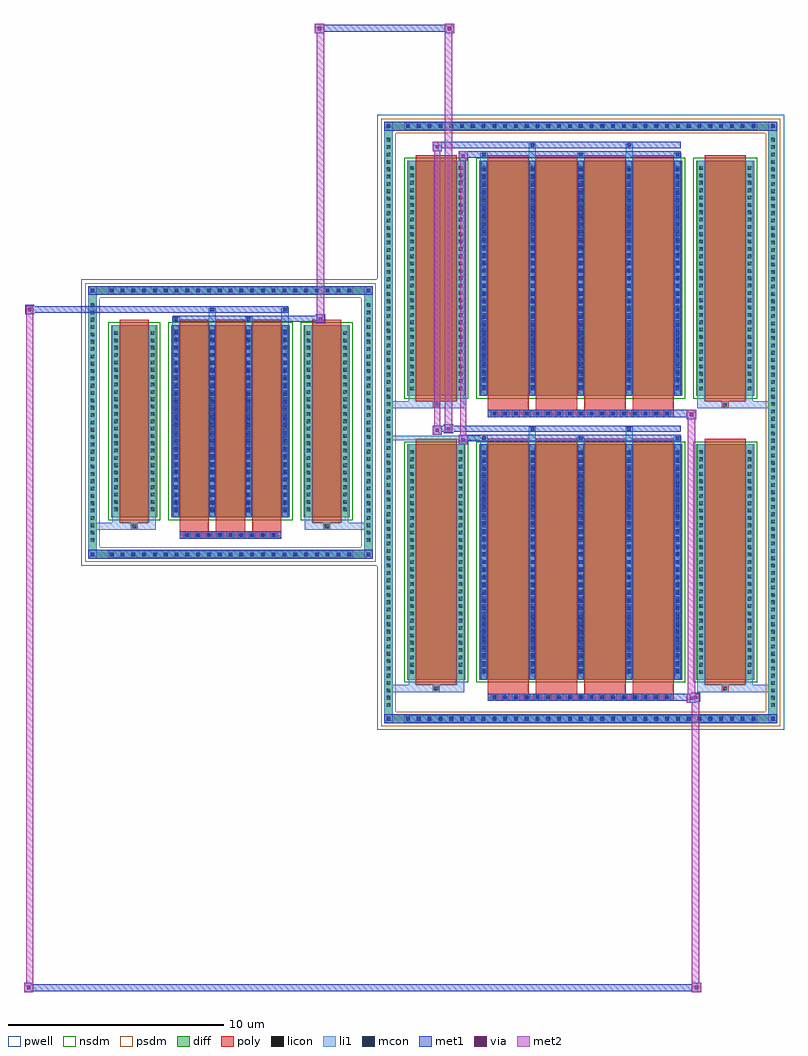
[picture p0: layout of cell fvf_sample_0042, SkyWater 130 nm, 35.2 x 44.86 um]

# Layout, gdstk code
import gdstk
lib = gdstk.Library(unit=1e-6, precision=1e-09)
def R(c, l, rs):  # rectangles x0, y0, x1, y1
    for r in rs: c.add(gdstk.rectangle(r[:2], r[2:], *l))
def A(c, l, x, y, w, h, nx, ny, dx, dy):  # array of equal rectangles
    R(c, l, [(x+i*dx, y+j*dy, x+i*dx+w, y+j*dy+h) for i in range(nx) for j in range(ny)])
def P(c, l, *ps):  # polygons
    for p in ps: c.add(gdstk.Polygon(p, *l))
pwell = (64, 44)
diff = (65, 20)
poly = (66, 20)
licon = (66, 44)
li1 = (67, 20)
mcon = (67, 44)
met1 = (68, 20)
via = (68, 44)
met2 = (69, 20)
nsdm = (93, 44)
psdm = (94, 20)

fvf_sample_0042 = lib.new_cell('fvf_sample_0042')
R(fvf_sample_0042, pwell, [(6.806,-14.24,25.636,14.24), (-6.906,-6.627,6.906,6.627)])
A(fvf_sample_0042, diff, 8.016, -13.93, 0.41, 0.41, 33, 2, 0.5, 27.45)
A(fvf_sample_0042, diff, 7.116, -13.295, 0.41, 0.41, 1, 78, 0, 0.34)
A(fvf_sample_0042, diff, 24.916, -13.295, 0.41, 0.41, 1, 78, 0, 0.34)
A(fvf_sample_0042, diff, -5.705, -6.317, 0.41, 0.41, 23, 2, 0.5, 12.224)
A(fvf_sample_0042, diff, -6.596, -5.645, 0.41, 0.41, 1, 33, 0, 0.34)
A(fvf_sample_0042, diff, 6.186, -5.645, 0.41, 0.41, 1, 33, 0, 0.34)
R(fvf_sample_0042, diff, [(8.016,-13.93,24.426,-13.52), (7.116,-13.295,7.526,13.295), (24.916,-13.295,25.326,13.295), (8.186,-11.909,10.876,-1.015), (11.516,-11.909,20.926,-1.015), (21.566,-11.909,24.256,-1.015), (-5.705,-6.317,5.705,-5.907), (-6.596,-5.645,-6.186,5.645), (6.186,-5.645,6.596,5.645), (-5.525,-4.395,-3.391,4.511), (-2.751,-4.395,2.751,4.511), (3.391,-4.395,5.525,4.511), (8.186,1.231,10.876,12.125), (11.516,1.231,20.926,12.125), (21.566,1.231,24.256,12.125), (-5.705,5.907,5.705,6.317), (8.016,13.52,24.426,13.93)])
P(fvf_sample_0042, diff, [(6.596,6.317),(-6.596,6.317),(-6.596,-5.907),(-6.186,-5.907),(-6.186,5.907),(6.186,5.907),(6.186,-5.907),(-6.186,-5.907),(-6.596,-5.907),(-6.596,-6.317),(6.596,-6.317)],
  [(25.326,13.93),(7.116,13.93),(7.116,-13.52),(7.526,-13.52),(7.526,13.52),(24.916,13.52),(24.916,-13.52),(7.526,-13.52),(7.116,-13.52),(7.116,-13.93),(25.326,-13.93)])
A(fvf_sample_0042, poly, 12.056, -12.89, 0.33, 0.33, 17, 2, 0.5, 13.14)
A(fvf_sample_0042, poly, 11.906, -12.56, 1.91, 0.401, 4, 2, 2.24, 13.14)
A(fvf_sample_0042, poly, 11.906, -12.159, 1.91, 11.394, 4, 2, 2.24, 13.14)
A(fvf_sample_0042, poly, -2.165, -5.376, 0.33, 0.33, 9, 1, 0.5, 0)
A(fvf_sample_0042, poly, -2.361, -5.046, 1.354, 0.401, 3, 1, 1.684, 0)
A(fvf_sample_0042, poly, -2.361, -4.645, 1.354, 9.406, 3, 1, 1.684, 0)
R(fvf_sample_0042, poly, [(11.906,-12.89,20.536,-12.56), (9.366,-12.489,9.696,-12.159), (9.366,-12.489,9.696,-12.159), (22.746,-12.489,23.076,-12.159), (22.746,-12.489,23.076,-12.159), (8.576,-12.159,10.486,-0.765), (21.956,-12.159,23.866,-0.765), (-2.361,-5.376,2.361,-5.046), (-4.623,-4.975,-4.293,-4.645), (-4.623,-4.975,-4.293,-4.645), (4.293,-4.975,4.623,-4.645), (4.293,-4.975,4.623,-4.645), (-5.135,-4.645,-3.781,4.761), (3.781,-4.645,5.135,4.761), (11.906,0.25,20.536,0.58), (9.366,0.651,9.696,0.981), (9.366,0.651,9.696,0.981), (22.746,0.651,23.076,0.981), (22.746,0.651,23.076,0.981), (8.576,0.981,10.486,12.375), (21.956,0.981,23.866,12.375)])
A(fvf_sample_0042, licon, 8.136, -13.81, 0.17, 0.17, 33, 2, 0.5, 27.45)
A(fvf_sample_0042, licon, 7.236, -13.175, 0.17, 0.17, 1, 78, 0, 0.34)
A(fvf_sample_0042, licon, 25.036, -13.175, 0.17, 0.17, 1, 78, 0, 0.34)
A(fvf_sample_0042, licon, 12.136, -12.81, 0.17, 0.17, 17, 2, 0.5, 13.14)
A(fvf_sample_0042, licon, 8.326, -11.647, 0.17, 0.17, 1, 31, 0, 0.34)
A(fvf_sample_0042, licon, 10.566, -11.647, 0.17, 0.17, 1, 31, 0, 0.34)
A(fvf_sample_0042, licon, 11.656, -11.647, 0.17, 0.17, 5, 31, 2.24, 0.34)
A(fvf_sample_0042, licon, 21.706, -11.647, 0.17, 0.17, 1, 31, 0, 0.34)
A(fvf_sample_0042, licon, 23.946, -11.647, 0.17, 0.17, 1, 31, 0, 0.34)
A(fvf_sample_0042, licon, -5.585, -6.197, 0.17, 0.17, 23, 2, 0.5, 12.224)
A(fvf_sample_0042, licon, -6.476, -5.525, 0.17, 0.17, 1, 33, 0, 0.34)
A(fvf_sample_0042, licon, 6.306, -5.525, 0.17, 0.17, 1, 33, 0, 0.34)
A(fvf_sample_0042, licon, -2.085, -5.296, 0.17, 0.17, 9, 1, 0.5, 0)
A(fvf_sample_0042, licon, -5.385, -4.107, 0.17, 0.17, 1, 25, 0, 0.34)
A(fvf_sample_0042, licon, -3.701, -4.107, 0.17, 0.17, 1, 25, 0, 0.34)
A(fvf_sample_0042, licon, -2.611, -4.107, 0.17, 0.17, 4, 25, 1.684, 0.34)
A(fvf_sample_0042, licon, 3.531, -4.107, 0.17, 0.17, 1, 25, 0, 0.34)
A(fvf_sample_0042, licon, 5.215, -4.107, 0.17, 0.17, 1, 25, 0, 0.34)
A(fvf_sample_0042, licon, 8.326, 1.493, 0.17, 0.17, 1, 31, 0, 0.34)
A(fvf_sample_0042, licon, 10.566, 1.493, 0.17, 0.17, 1, 31, 0, 0.34)
A(fvf_sample_0042, licon, 11.656, 1.493, 0.17, 0.17, 5, 31, 2.24, 0.34)
A(fvf_sample_0042, licon, 21.706, 1.493, 0.17, 0.17, 1, 31, 0, 0.34)
A(fvf_sample_0042, licon, 23.946, 1.493, 0.17, 0.17, 1, 31, 0, 0.34)
R(fvf_sample_0042, licon, [(9.446,-12.409,9.616,-12.239), (22.826,-12.409,22.996,-12.239), (-4.543,-4.895,-4.373,-4.725), (4.373,-4.895,4.543,-4.725), (9.446,0.731,9.616,0.901), (22.826,0.731,22.996,0.901)])
A(fvf_sample_0042, li1, 8.056, -13.89, 0.33, 0.33, 33, 2, 0.5, 27.45)
A(fvf_sample_0042, li1, 7.156, -13.255, 0.33, 0.33, 1, 78, 0, 0.34)
A(fvf_sample_0042, li1, 24.956, -13.255, 0.33, 0.33, 1, 78, 0, 0.34)
A(fvf_sample_0042, li1, 12.056, -12.89, 0.33, 0.33, 17, 2, 0.5, 13.14)
A(fvf_sample_0042, li1, 11.576, -11.909, 0.33, 10.894, 5, 2, 2.24, 13.14)
A(fvf_sample_0042, li1, 8.246, -11.727, 0.33, 0.33, 1, 31, 0, 0.34)
A(fvf_sample_0042, li1, 10.486, -11.727, 0.33, 0.33, 1, 31, 0, 0.34)
A(fvf_sample_0042, li1, 11.576, -11.727, 0.33, 0.33, 5, 31, 2.24, 0.34)
A(fvf_sample_0042, li1, 21.626, -11.727, 0.33, 0.33, 1, 31, 0, 0.34)
A(fvf_sample_0042, li1, 23.866, -11.727, 0.33, 0.33, 1, 31, 0, 0.34)
A(fvf_sample_0042, li1, 11.656, -11.587, 0.17, 0.17, 5, 29, 2.24, 0.36)
A(fvf_sample_0042, li1, 11.656, -11.587, 0.17, 10.25, 5, 2, 2.24, 13.14)
A(fvf_sample_0042, li1, -5.665, -6.277, 0.33, 0.33, 23, 2, 0.5, 12.224)
A(fvf_sample_0042, li1, -6.556, -5.605, 0.33, 0.33, 1, 33, 0, 0.34)
A(fvf_sample_0042, li1, 6.226, -5.605, 0.33, 0.33, 1, 33, 0, 0.34)
A(fvf_sample_0042, li1, -2.165, -5.376, 0.33, 0.33, 9, 1, 0.5, 0)
A(fvf_sample_0042, li1, -2.691, -4.395, 0.33, 8.906, 4, 1, 1.684, 0)
A(fvf_sample_0042, li1, -5.465, -4.187, 0.33, 0.33, 1, 25, 0, 0.34)
A(fvf_sample_0042, li1, -3.781, -4.187, 0.33, 0.33, 1, 25, 0, 0.34)
A(fvf_sample_0042, li1, -2.691, -4.187, 0.33, 0.33, 4, 25, 1.684, 0.34)
A(fvf_sample_0042, li1, 3.451, -4.187, 0.33, 0.33, 1, 25, 0, 0.34)
A(fvf_sample_0042, li1, 5.135, -4.187, 0.33, 0.33, 1, 25, 0, 0.34)
A(fvf_sample_0042, li1, -2.611, -4.167, 0.17, 0.17, 4, 24, 1.684, 0.36)
A(fvf_sample_0042, li1, -2.611, -4.167, 0.17, 8.45, 4, 1, 1.684, 0)
A(fvf_sample_0042, li1, 11.576, -1.015, 0.33, 0.375, 3, 2, 4.48, 13.14)
A(fvf_sample_0042, li1, 11.656, -0.81, 0.17, 0.17, 3, 2, 4.48, 13.14)
A(fvf_sample_0042, li1, 8.246, 1.413, 0.33, 0.33, 1, 31, 0, 0.34)
A(fvf_sample_0042, li1, 10.486, 1.413, 0.33, 0.33, 1, 31, 0, 0.34)
A(fvf_sample_0042, li1, 11.576, 1.413, 0.33, 0.33, 5, 31, 2.24, 0.34)
A(fvf_sample_0042, li1, 21.626, 1.413, 0.33, 0.33, 1, 31, 0, 0.34)
A(fvf_sample_0042, li1, 23.866, 1.413, 0.33, 0.33, 1, 31, 0, 0.34)
A(fvf_sample_0042, li1, 11.656, 1.553, 0.17, 0.17, 5, 29, 2.24, 0.36)
R(fvf_sample_0042, li1, [(7.116,-13.93,7.526,-13.52), (24.916,-13.93,25.326,-13.52), (8.056,-13.89,24.386,-13.56), (7.236,-13.81,7.406,-13.64), (7.236,-13.81,7.406,-13.64), (25.036,-13.81,25.206,-13.64), (25.036,-13.81,25.206,-13.64), (7.116,-13.52,7.526,13.52), (24.916,-13.52,25.326,13.52), (7.116,-12.489,9.366,-12.159), (8.246,-12.489,8.576,-11.909), (8.246,-12.489,9.366,-12.159), (9.366,-12.489,9.696,-12.159), (9.696,-12.489,10.816,-12.159), (10.486,-12.489,10.816,-11.909), (21.626,-12.489,21.956,-11.909), (21.626,-12.489,22.746,-12.159), (22.746,-12.489,23.076,-12.159), (22.746,-12.489,25.326,-12.159), (23.076,-12.489,24.196,-12.159), (23.866,-12.489,24.196,-11.909), (8.246,-11.909,8.576,-1.015), (10.486,-11.909,10.816,-1.015), (21.626,-11.909,21.956,-1.015), (23.866,-11.909,24.196,-1.015), (-6.596,-6.317,-6.186,-5.907), (6.186,-6.317,6.596,-5.907), (-5.665,-6.277,5.665,-5.947), (-6.476,-6.197,-6.306,-6.027), (-6.476,-6.197,-6.306,-6.027), (6.306,-6.197,6.476,-6.027), (6.306,-6.197,6.476,-6.027), (-6.596,-5.907,-6.186,5.907), (6.186,-5.907,6.596,5.907), (-6.596,-4.975,-4.623,-4.645), (-5.465,-4.975,-4.623,-4.645), (-5.465,-4.975,-5.135,-4.395), (-4.623,-4.975,-4.293,-4.645), (-4.293,-4.975,-3.451,-4.645), (-3.781,-4.975,-3.451,-4.395), (3.451,-4.975,4.293,-4.645), (3.451,-4.975,3.781,-4.395), (4.293,-4.975,4.623,-4.645), (4.293,-4.975,6.596,-4.645), (4.623,-4.975,5.465,-4.645), (5.135,-4.975,5.465,-4.395), (-5.465,-4.395,-5.135,4.511), (-3.781,-4.395,-3.451,4.511), (3.451,-4.395,3.781,4.511), (5.135,-4.395,5.465,4.511), (13.816,-1.015,14.146,-0.21), (18.296,-1.015,18.626,-0.21), (11.596,-0.87,11.886,-0.58), (7.116,-0.825,11.596,-0.625), (11.656,-0.81,11.826,-0.64), (13.896,-0.38,14.066,-0.21), (18.376,-0.38,18.546,-0.21), (7.116,0.651,9.366,0.981), (8.246,0.651,8.576,1.231), (8.246,0.651,9.366,0.981), (9.366,0.651,9.696,0.981), (9.696,0.651,10.816,0.981), (10.486,0.651,10.816,1.231), (21.626,0.651,21.956,1.231), (21.626,0.651,22.746,0.981), (22.746,0.651,23.076,0.981), (22.746,0.651,25.326,0.981), (23.076,0.651,24.196,0.981), (23.866,0.651,24.196,1.231), (8.246,1.231,8.576,12.125), (10.486,1.231,10.816,12.125), (21.626,1.231,21.956,12.125), (23.866,1.231,24.196,12.125), (-2.691,4.511,-2.361,4.886), (-1.007,4.511,-0.677,5.316), (0.677,4.511,1.007,4.886), (2.361,4.511,2.691,5.316), (-2.611,4.716,-2.441,4.886), (0.757,4.716,0.927,4.886), (-0.927,5.146,-0.757,5.316), (2.441,5.146,2.611,5.316), (-6.596,5.907,-6.186,6.317), (6.186,5.907,6.596,6.317), (-5.665,5.947,5.665,6.277), (-6.476,6.027,-6.306,6.197), (-6.476,6.027,-6.306,6.197), (6.306,6.027,6.476,6.197), (6.306,6.027,6.476,6.197), (13.816,12.125,14.146,12.93), (18.296,12.125,18.626,12.93), (13.896,12.76,14.066,12.93), (18.376,12.76,18.546,12.93), (7.116,13.52,7.526,13.93), (24.916,13.52,25.326,13.93), (8.056,13.56,24.386,13.89), (7.236,13.64,7.406,13.81), (7.236,13.64,7.406,13.81), (25.036,13.64,25.206,13.81), (25.036,13.64,25.206,13.81)])
A(fvf_sample_0042, mcon, 8.136, -13.81, 0.17, 0.17, 33, 2, 0.5, 27.45)
A(fvf_sample_0042, mcon, 12.136, -12.81, 0.17, 0.17, 17, 2, 0.5, 13.14)
A(fvf_sample_0042, mcon, 11.656, -11.587, 0.17, 0.17, 5, 29, 2.24, 0.36)
A(fvf_sample_0042, mcon, -5.585, -6.197, 0.17, 0.17, 23, 2, 0.5, 12.224)
A(fvf_sample_0042, mcon, -2.085, -5.296, 0.17, 0.17, 9, 1, 0.5, 0)
A(fvf_sample_0042, mcon, -2.611, -4.167, 0.17, 0.17, 4, 24, 1.684, 0.36)
A(fvf_sample_0042, mcon, 11.656, -0.81, 0.17, 0.17, 3, 2, 4.48, 13.14)
A(fvf_sample_0042, mcon, 11.656, 1.553, 0.17, 0.17, 5, 29, 2.24, 0.36)
R(fvf_sample_0042, mcon, [(7.236,-13.81,7.406,-13.64), (25.036,-13.81,25.206,-13.64), (-6.476,-6.197,-6.306,-6.027), (6.306,-6.197,6.476,-6.027), (11.656,-0.81,11.826,-0.64), (13.896,-0.38,14.066,-0.21), (18.376,-0.38,18.546,-0.21), (-2.611,4.716,-2.441,4.886), (0.757,4.716,0.927,4.886), (-0.927,5.146,-0.757,5.316), (2.441,5.146,2.611,5.316), (-6.476,6.027,-6.306,6.197), (6.306,6.027,6.476,6.197), (13.896,12.76,14.066,12.93), (18.376,12.76,18.546,12.93), (7.236,13.64,7.406,13.81), (25.036,13.64,25.206,13.81)])
A(fvf_sample_0042, met1, 8.076, -13.87, 0.29, 0.29, 33, 2, 0.5, 27.45)
A(fvf_sample_0042, met1, 12.076, -12.87, 0.29, 0.29, 17, 2, 0.5, 13.14)
A(fvf_sample_0042, met1, 11.596, -11.909, 0.29, 10.894, 5, 2, 2.24, 13.14)
A(fvf_sample_0042, met1, 11.596, -11.647, 0.29, 0.29, 5, 29, 2.24, 0.36)
A(fvf_sample_0042, met1, -5.645, -6.257, 0.29, 0.29, 23, 2, 0.5, 12.224)
A(fvf_sample_0042, met1, -2.145, -5.356, 0.29, 0.29, 9, 1, 0.5, 0)
A(fvf_sample_0042, met1, -2.671, -4.395, 0.29, 8.906, 4, 1, 1.684, 0)
A(fvf_sample_0042, met1, -2.671, -4.227, 0.29, 0.29, 4, 24, 1.684, 0.36)
A(fvf_sample_0042, met1, 11.596, -0.87, 0.29, 0.29, 3, 2, 4.48, 13.14)
A(fvf_sample_0042, met1, 11.596, 1.493, 0.29, 0.29, 5, 29, 2.24, 0.36)
R(fvf_sample_0042, met1, [(-9.563,-26.39,-9.133,-25.96), (21.371,-26.39,21.801,-25.96), (-9.563,-26.34,21.801,-26.01), (-9.563,-26.01,-9.133,-25.96), (21.371,-26.01,21.801,-25.96), (7.116,-13.93,7.526,-13.52), (7.116,-13.93,7.526,-13.52), (7.526,-13.93,24.916,-13.52), (24.916,-13.93,25.326,-13.52), (24.916,-13.93,25.326,-13.52), (7.176,-13.87,7.466,-13.58), (24.976,-13.87,25.266,-13.58), (21.136,-12.99,21.566,-12.56), (21.321,-12.94,21.751,-12.51), (11.906,-12.89,20.536,-12.56), (20.536,-12.89,21.321,-12.56), (20.536,-12.89,21.566,-12.56), (-6.596,-6.317,-6.186,-5.907), (-6.596,-6.317,-6.186,-5.907), (-6.186,-6.317,6.186,-5.907), (6.186,-6.317,6.596,-5.907), (6.186,-6.317,6.596,-5.907), (-6.536,-6.257,-6.246,-5.967), (6.246,-6.257,6.536,-5.967), (-2.361,-5.376,2.361,-5.046), (10.566,-1.01,10.996,-0.58), (10.566,-0.87,11.596,-0.58), (11.596,-0.87,11.886,-0.58), (11.596,-0.87,20.846,-0.58), (9.366,-0.58,9.796,-0.15), (9.881,-0.51,10.311,-0.08), (9.366,-0.44,11.596,-0.15), (10.311,-0.44,11.596,-0.15), (11.596,-0.44,20.846,-0.15), (13.836,-0.44,14.126,-0.15), (18.316,-0.44,18.606,-0.15), (21.136,0.15,21.566,0.58), (11.906,0.25,20.536,0.58), (20.536,0.25,21.566,0.58), (3.956,4.586,4.386,5.016), (-2.671,4.656,-2.381,4.946), (-2.671,4.656,2.671,4.946), (0.697,4.656,0.987,4.946), (2.671,4.656,3.956,4.946), (-9.513,5.016,-9.083,5.446), (-9.083,5.086,-2.671,5.376), (-2.671,5.086,2.671,5.376), (-0.987,5.086,-0.697,5.376), (2.381,5.086,2.671,5.376), (-6.596,5.907,-6.186,6.317), (-6.596,5.907,-6.186,6.317), (-6.186,5.907,6.186,6.317), (6.186,5.907,6.596,6.317), (6.186,5.907,6.596,6.317), (-6.536,5.967,-6.246,6.257), (6.246,5.967,6.536,6.257), (10.566,12.13,10.996,12.56), (10.566,12.27,11.596,12.56), (11.596,12.27,20.846,12.56), (9.366,12.56,9.796,12.99), (9.366,12.7,11.596,12.99), (11.596,12.7,20.846,12.99), (13.836,12.7,14.126,12.99), (18.316,12.7,18.606,12.99), (7.116,13.52,7.526,13.93), (7.116,13.52,7.526,13.93), (7.526,13.52,24.916,13.93), (24.916,13.52,25.326,13.93), (24.916,13.52,25.326,13.93), (7.176,13.58,7.466,13.87), (24.976,13.58,25.266,13.87), (3.906,18.036,4.336,18.466), (9.931,18.036,10.361,18.466), (3.906,18.086,10.361,18.416), (3.906,18.416,4.336,18.466), (9.931,18.416,10.361,18.466)])
R(fvf_sample_0042, via, [(-9.423,-26.25,-9.273,-26.1), (21.511,-26.25,21.661,-26.1), (21.276,-12.85,21.426,-12.7), (21.461,-12.8,21.611,-12.65), (10.706,-0.87,10.856,-0.72), (9.506,-0.44,9.656,-0.29), (10.021,-0.37,10.171,-0.22), (21.276,0.29,21.426,0.44), (4.096,4.726,4.246,4.876), (-9.373,5.156,-9.223,5.306), (10.706,12.27,10.856,12.42), (9.506,12.7,9.656,12.85), (4.046,18.176,4.196,18.326), (10.071,18.176,10.221,18.326)])
R(fvf_sample_0042, met2, [(-9.563,-26.39,-9.133,-25.96), (-9.463,-26.39,-9.133,5.066), (21.371,-26.39,21.801,-25.96), (21.371,-26.39,21.701,-12.89), (-9.513,-26.34,-9.183,-26.01), (21.421,-26.34,21.751,-26.01), (21.136,-12.99,21.566,-12.56), (21.186,-12.99,21.516,0.58), (21.516,-12.99,21.566,-12.56), (21.186,-12.94,21.516,-12.61), (21.371,-12.89,21.701,-12.56), (10.566,-1.01,10.996,-0.58), (10.636,-1.01,10.926,12.56), (10.926,-1.01,10.996,-0.58), (10.616,-0.96,10.946,-0.63), (9.366,-0.58,9.796,-0.15), (9.436,-0.58,9.726,12.99), (9.726,-0.58,9.796,-0.15), (9.416,-0.53,9.746,-0.2), (9.931,-0.46,10.261,-0.13), (9.931,-0.13,10.261,18.466), (21.136,0.15,21.566,0.58), (21.516,0.15,21.566,0.58), (21.186,0.2,21.516,0.53), (4.006,4.636,4.336,4.966), (4.006,4.966,4.336,18.466), (-9.463,5.066,-9.133,5.396), (10.566,12.13,10.996,12.56), (10.926,12.13,10.996,12.56), (10.616,12.18,10.946,12.51), (9.366,12.56,9.796,12.99), (9.726,12.56,9.796,12.99), (9.416,12.61,9.746,12.94), (3.906,18.036,4.336,18.466), (9.931,18.036,10.361,18.466), (3.956,18.086,4.286,18.416), (9.981,18.086,10.311,18.416)])
R(fvf_sample_0042, nsdm, [(8.056,-12.039,11.006,-0.885), (11.386,-12.039,21.056,-0.885), (21.436,-12.039,24.386,-0.885), (-5.655,-4.525,-3.261,4.641), (-2.881,-4.525,2.881,4.641), (3.261,-4.525,5.655,4.641), (8.056,1.101,11.006,12.255), (11.386,1.101,21.056,12.255), (21.436,1.101,24.386,12.255)])
P(fvf_sample_0042, psdm, [(6.726,6.447),(-6.726,6.447),(-6.726,-5.777),(-6.056,-5.777),(-6.056,5.777),(6.056,5.777),(6.056,-5.777),(-6.056,-5.777),(-6.726,-5.777),(-6.726,-6.447),(6.726,-6.447)],
  [(25.456,14.06),(6.986,14.06),(6.986,-13.39),(7.656,-13.39),(7.656,13.39),(24.786,13.39),(24.786,-13.39),(7.656,-13.39),(6.986,-13.39),(6.986,-14.06),(25.456,-14.06)])

lib.write_gds('fvf_sample_0042.gds')
